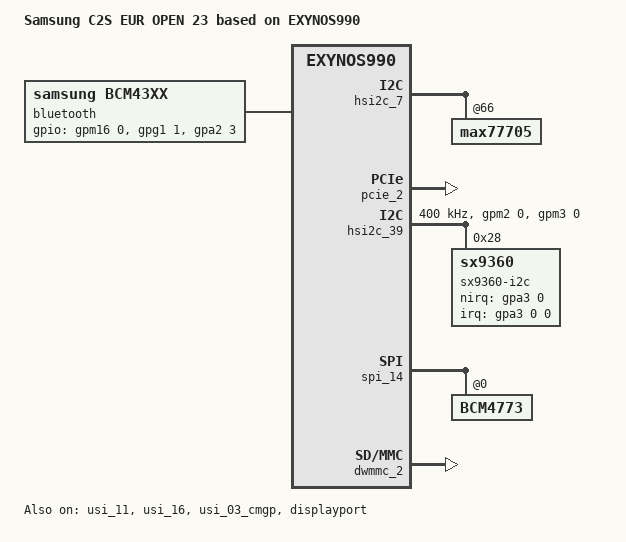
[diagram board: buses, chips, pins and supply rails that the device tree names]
/*
 * SAMSUNG EXYNOS990 board device tree source
 *
 * Copyright (c) 2019 Samsung Electronics Co., Ltd.
 *		http://www.samsung.com
 *
 * This program is free software; you can redistribute it and/or modify
 * it under the terms of the GNU General Public License version 2 as
 * published by the Free Software Foundation.
*/

/dts-v1/;
/plugin/;
#include "exynos990-c2s_pm_21.dtsi"
#include "exynos990-c2s_common.dtsi"
#include "exynos_gpio_config_macros.dtsi"
#include "exynos990-c2s_nfc_01.dtsi"
#include "../exynos/exynos9830-universal9830-cp-s5123-sipc.dtsi"
#include <dt-bindings/gpio/gpio.h>
#include "exynos9830-sensorhub_03.dtsi"
#include "exynos990-c2s_sensor_23.dtsi"
#include "exynos990-c2s_fingerprint_18.dtsi"
#include "battery_data_c2_19.dtsi"
#include "exynos990-c2s_uwb_16.dtsi"

#define BOARD_ID	0x10
#define BOARD_REV	0x0

/ {
	compatible = "samsung,C2S EUR OPEN 23", "samsung,EXYNOS990";
	dtbo-hw_rev = <23>;
	dtbo-hw_rev_end = <23>;
	edtbo-rev = <0>;

	fragment@model {
		target-path = "/";
		__overlay__ {
			#address-cells = <2>;
			#size-cells = <1>;

			model = "Samsung C2S EUR OPEN 23 based on EXYNOS990";

			acpm_ipc {
				compatible = "samsung,exynos-acpm-ipc";
				board-id = <BOARD_ID>;
				board-rev = <BOARD_REV>;
			};

			pinctrl@15850000 {
				bt_hostwake: bt-hostwake {
					samsung,pins = "gpa2-3";
					samsung,pin-function = <0xF>;
					samsung,pin-pud = <1>;
				};
			};

			pinctrl@10730000 {
				bt_btwake: bt-btwake {
					samsung,pins = "gpg1-1";
					samsung,pin-function = <1>;
					samsung,pin-pud = <0>;
					samsung,pin-con-pdn = <3>;
					samsung,pin-pud-pdn = <0>;
				};
			};

			pinctrl@15C30000 {
				bt_en: bt-en {
					samsung,pins = "gpm16-0";
					samsung,pin-function = <1>;
					samsung,pin-pud = <0>;
					samsung,pin-con-pdn = <3>;
					samsung,pin-pud-pdn = <0>;
				};
			};

			bluetooth {
				compatible = "samsung,bcm43xx";
				gpios = <&gpm16 0 GPIO_ACTIVE_HIGH    /*BT_EN*/
				&gpg1 1 GPIO_ACTIVE_HIGH    /*BT_WAKE*/
				&gpa2 3 GPIO_ACTIVE_HIGH    /*BT_HOST_WAKE*/ >;
				pinctrl-names = "default";
				pinctrl-0=<&bt_en &bt_hostwake &bt_btwake>;
				status = "okay";
			};
		}; /* end of __overlay__ */
	}; /* end of fragment */

	fragment@modemif {
		target-path = "/";
		__overlay__ {
			cpif {
				status = "okay";

				pinctrl-names = "default";
				pinctrl-0 = <&s5100_ap2cp_cp_pwr_on>,
					<&s5100_ap2cp_cp_nreset_n>,
					<&s5100_cp2ap_cp_ps_hold>,
					<&s5100_ap2cp_wakeup>,
					<&s5100_cp2ap_wakeup>,
					<&s5100_ap2cp_dump_noti>,
					<&s5100_ap2cp_pda_active>,
					<&s5100_cp2ap_phone_active>;
			};
		};
	};
}; /* end of root */

&panel_0 {
	/* reset, power */
	gpios = <&gpa3 4 0x1>;
};

&pinctrl_0 {
	conn_det_ctrl: conn-det-ctrl {
		samsung,pins = "gpa0-0";
		samsung,pin-pud = <0>;
	};
};

&panel_drv_0 {
	pinctrl-0 = <&disp_det_ctrl &disp_te_ctrl &conn_det_ctrl>;
	gpios {
		conn-det {
			name = "conn-det";
			gpios = <&gpa0 0 0>; 		/* 0:NOK(active) 1:OK */
			dir = <1>;  				/* IN */
			irq-type = <0x00002001>;	/* RISING EDGE | ONE_SHOT */
		};
	};
};

&chosen {
	bootargs_ext = "root=/dev/ram0 androidboot.boot_devices=13100000.ufs sec_debug.cp=0";
};

&usi_11 {
	usi_v2_mode = "i2c";
	status = "okay";
};

&usi_16 {
	usi_v2_mode = "spi";
	status = "okay";
};

&usi_03_cmgp {
	usi_v2_mode = "i2c";
	status = "okay";
};

&hsi2c_7 {
	max77705@66 {
		max77705,extra_fw_enable = <0>;
	};
};

&pinctrl_1 {
	hsi2c44_bus: hsi2c44-bus {
		samsung,pins = "gpm12-0", "gpm13-0";
		samsung,pin-function = <2>;
		samsung,pin-pud = <0>;
		samsung,pin-drv = <0>;
	};
};

&pinctrl_5 {
	aux_oe: aux-oe {
		samsung,pins = "gpp6-2";
		samsung,pin-function = <1>;
		samsung,pin-pud = <0>;
		samsung,pin-con-pdn = <3>;
		samsung,pin-pud-pdn = <0>;
		};

	sbu_sel: sbu-sel {
		samsung,pins = "gpp6-1";
		samsung,pin-function = <1>;
		samsung,pin-pud = <0>;
		samsung,pin-con-pdn = <3>;
		samsung,pin-pud-pdn = <0>;
		};
};

&displayport {
	status = "okay";
	dp,aux_sw_oe = <&gpp6 2 0>;
	dp,sbu_sw_sel = <&gpp6 1 0>;
	dp,usb_con_sel = <&gpm26 0 0>;

	pinctrl-names = "default";
	pinctrl-0 = <&aux_oe &sbu_sel>;
};

&pcie_2 {
	status = "okay";
	chip-ver = <1>;
	use-sysmmu = "false";
	use-cache-coherency = "true";
	use-msi = "true";
	use-pcieon-sleep = "true";
	phy-power-off = "false";
	ep-device-type = <EP_SAMSUNG_MODEM>;
	ep-device-name = "MODEM";
};

&ufs {
	/* board type for UFS CAL */
	evt-ver = /bits/ 8 <1>;
};

&tsp_lsi {
	/delete-property/ sec,select_lcdid;
	sec,firmware_name = "tsp_sec/y79a_c2_4layer.bin";
	sec,bringup = <0>;
};

&hsi2c_39 { /* 15D10000 */
	#address-cells = <1>;
	#size-cells = <0>;
	gpios = <&gpm2 0 0 &gpm3 0 0>;
	status = "okay";
	clock-frequency = <400000>;

	pinctrl-names = "default";
	pinctrl-0 = <&grip_i2c>;

	sx9360-i2c@28 {
		compatible = "sx9360";
		reg = <0x28>;
		status = "okay";
		pinctrl-names = "default";
		pinctrl-0 = <&grip_irq>;
		interrupt-parent = <&gpa3>;
		interrupts = <0 0 0>;

		sx9360,nirq-gpio = <&gpa3 0 0>;
		sx9360,refresolution_reg = <0x0f>; /* same as resolution_reg */
		sx9360,refagainfreq_reg = <0x36>; /* same as againfreq_reg */
		sx9360,resolution_reg = <0x0f>; /* resolution : 1024 */
		sx9360,againfreq_reg = <0x31>; /* freq : 200 kHz, again : +/-5.25 pF */
		sx9360,refgainrawfilt_reg = <0x22>; /* same as gainrawfilt_reg */
		sx9360,gainrawfilt_reg = <0x22>; /* rawfilter : 1-1/4, gain : x8 */
		sx9360,hyst_reg = <0x15>; /* hysteresis : +/-6 %, debouncer : 2 samples */
		sx9360,proxthresh_reg = <0x3E>; /* threshold : 1922 */
		sx9360,hallic_cert_detect = <1>;
	};
};

&spi_14 {
	BCM4773@0 {
		ssp-acc-position = <0>;
		ssp-mag-position = <4>;
		ssp-mag-array = /bits/ 8 <192 85 169 204 69 181 0 64 220 54 81 160 126 102 2 122 245 120 15 230 184 0 1 253 12 117 72>;
		ssp-thermi-up = /bits/ 16 <3243 3216 3175 3123 3055 2984 2892 2779 2657 2519 2370 2205 2031 1850 1683 1517 1356 1198 1049 922 804 694 560>;
		ssp-thermi-sub = /bits/ 16 <3244 3217 3178 3128 3066 2993 2903 2799 2676 2540 2391 2232 2062 1888 1719 1554 1393 1238 1094 964 846 740 641>;
	};
};

/* ----------------------------------------------------------------------------
 * Configurations for GPIOs without Device Driver
 * Note: Do NOT add pins using by device drivers to the configuration below
 * ----------------------------------------------------------------------------
 */
/*
 * pin banks of exynos9830 pin-controller 0 (ALIVE) : pinctrl@15850000
 * GPA0, GPA1, GPA2, GPA3, GPA4
 * GPQ0
 */
&pinctrl_0 {
	pinctrl-names = "default";
	pinctrl-0 = <&initial0>;
	initial0: initial-state {
		PIN_IN(gpq0-6, DOWN);			/* XSPEEDY_DCXO */
	};
};

/*
 * pin banks of exynos9830 pin-controller 2 (HSI1) : pinctrl@13040000
 * GPF0, GPF1, GPF2
 */
&pinctrl_2 {
        pinctrl-names = "default";
        pinctrl-0 = <&initial2>;
        initial2: initial-state {
                PIN_IN_SLP(gpf0-2, NONE, INPUT, NONE);	/* MASTER_VER_1_AP */
                PIN_IN_SLP(gpf0-3, NONE, INPUT, NONE);	/* MASTER_VER_2_AP */
                PIN_IN_SLP(gpf2-2, NONE, INPUT, NONE);	/* SLAVE_CHK_2 */
        };
};

/*
 * pin banks of exynos9830 pin-controller 4 (PERIC0) : pinctrl@10430000
 * GPP0, GPP1, GPP2, GPP3, GPP4
 * GPG0
 */
&pinctrl_4 {
	pinctrl-names = "default";
	pinctrl-0 = <&initial4>;
	initial4: initial-state {
		PIN_IN_SLP(gpp2-4, NONE, INPUT, NONE);
		PIN_IN_SLP(gpp2-5, NONE, INPUT, NONE);	/* SUB_VER_2 */
	};
};

/*
 * pin banks of exynos9830 pin-controller 5 (PERIC1) : pinctrl@10730000
 * GPP5, GPP6, GPP7, GPP8, GPP9
 * GPC0
 * GPG1
 * GPB0, GPB1, GPB2
 */
&pinctrl_5 {
	pinctrl-names = "default";
	pinctrl-0 = <&initial5>;
	initial5: initial-state {
		PIN_IN_SLP(gpp5-0, NONE, INPUT, NONE);	/* MEM_SCL_1P8 */
		PIN_IN_SLP(gpp5-1, NONE, INPUT, NONE);	/* MEM_SDA_1P8 */
		PIN_IN_SLP(gpp5-5, NONE, INPUT, NONE);	/* HW_REV_M */
#if defined(CONFIG_SEC_FACTORY)
		PIN_IN_SLP(gpb0-0, UP, INPUT, DOWN);	/* INTPOSER_DET_R_2 */
		PIN_IN_SLP(gpb0-1, UP, INPUT, DOWN);	/* INTPOSER_DET_R_1 */
		PIN_IN_SLP(gpb0-2, UP, INPUT, DOWN);	/* INTPOSER_DET_L_1 */
		PIN_IN_SLP(gpb0-3, UP, INPUT, DOWN);	/* INTPOSER_DET_L_2 */
#else
		PIN_IN_SLP(gpb0-0, DOWN, INPUT, DOWN);	/* INTPOSER_DET_R_2 */
		PIN_IN_SLP(gpb0-1, DOWN, INPUT, DOWN);	/* INTPOSER_DET_R_1 */
		PIN_IN_SLP(gpb0-2, DOWN, INPUT, DOWN);	/* INTPOSER_DET_L_1 */
		PIN_IN_SLP(gpb0-3, DOWN, INPUT, DOWN);	/* INTPOSER_DET_L_2 */
#endif /* !CONFIG_SEC_FACTORY */
		PIN_IN_SLP(gpb2-7, NONE, INPUT, NONE);	/* SLAVE_CHK_1 */
	};
};

&dwmmc_2 {
	status = "okay";
};
